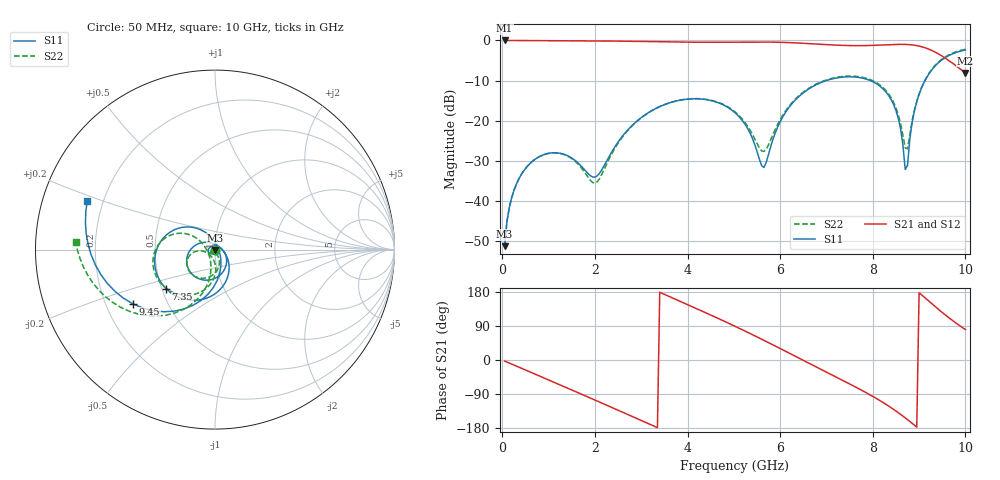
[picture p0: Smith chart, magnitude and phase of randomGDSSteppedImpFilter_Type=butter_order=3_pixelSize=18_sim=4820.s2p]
! freq	dB(S11)	phase(S11)	dB(S12)	phase(S12)
!  dB(S21)	phase(S21)	dB(S22)	phase(S22)
!S-par simulation data
#  GHz  S  DB  R 50
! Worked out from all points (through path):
!   200 points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, 50 MHz to 10 GHz, reference 50 ohm
!   highest |S21| = -0.01 dB at 50 MHz (marker M1); lowest = -8.1 dB at 10 GHz (marker M2)
!   group delay of S21, straight-line fit = 170 ps
!   lowest |S11| = -51.3 dB at 50 MHz (marker M3), VSWR 1.01, Z = 50 - j0.273 ohm
!   |S11| at or under -10 dB: start of sweep to 6.996 GHz; 7.946 GHz to 9.129 GHz (1.184 GHz wide, 13.9 % of centre)
!   |S22| runs from -51.2 to -2.2 dB; largest |S21 - S12| = 0
!   S11 on the Smith chart (normalised r, x): 50 MHz: 1.00, -0.01; 7.35 GHz: 0.53, -0.26; 9.45 GHz: 0.32, -0.27; 10 GHz: 0.14, +0.18
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0.05  -51.27 -86.0  -0.01 -2.7  -0.01 -2.7  -51.25 -85.2
0.2  -39.31 -100.0  -0.02 -10.6  -0.02 -10.6  -39.28 -97.3
0.6  -30.65 -126.6  -0.05 -31.7  -0.05 -31.7  -30.64 -117.8
1.2  -28.04 -166.8  -0.08 -63.2  -0.08 -63.2  -28.07 -142.9
1.75  -31.89 136.9  -0.11 -92.3  -0.11 -92.3  -32.42 -147.6
2.05  -33.75 63.5  -0.13 -108.3  -0.13 -108.3  -35.24 -100.0
2.65  -23.08 -29.8  -0.19 -140.6  -0.19 -140.6  -23.25 -69.2
3.4  -16.48 -82.5  -0.33 178.8  -0.33 178.8  -16.49 -98.9
4.3  -14.60 -137.5  -0.46 129.8  -0.46 129.8  -14.55 -140.7
5.05  -18.28 172.7  -0.42 87.6  -0.42 87.6  -18.04 -171.9
5.65  -31.65 50.4  -0.39 51.9  -0.39 51.9  -27.67 -128.8
6.1  -18.22 -50.2  -0.50 24.1  -0.50 24.1  -17.86 -88.8
6.7  -11.51 -96.7  -0.84 -13.4  -0.84 -13.4  -11.36 -113.8
7.35  -9.14 -141.6  -1.23 -53.7  -1.23 -53.7  -8.98 -148.5
7.9  -9.80 179.2  -1.27 -89.2  -1.27 -89.2  -9.57 -179.6
8.35  -13.86 141.4  -1.06 -122.1  -1.06 -122.1  -13.46 154.5
8.55  -19.35 118.5  -0.98 -138.8  -0.98 -138.8  -18.49 148.4
8.7  -32.15 58.9  -0.99 -152.5  -0.99 -152.5  -26.78 -178.3
8.75  -31.15 -26.6  -1.02 -157.2  -1.02 -157.2  -27.02 -137.7
9  -13.46 -92.7  -1.41 177.6  -1.41 177.6  -13.32 -103.4
9.45  -5.23 -146.4  -3.57 130.4  -3.57 130.4  -5.08 -139.8
10  -2.36 159.1  -8.09 80.3  -8.09 80.3  -2.19 177.1
